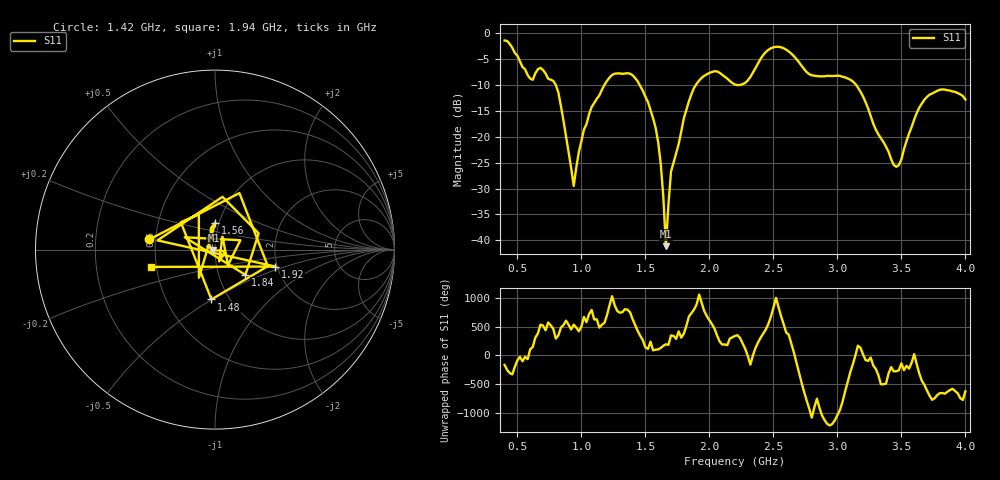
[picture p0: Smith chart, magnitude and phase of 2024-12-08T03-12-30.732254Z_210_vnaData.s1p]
!Created with skrf (http://scikit-rf.org).
# Hz S RI R 50.0
!freq ReS11 ImS11
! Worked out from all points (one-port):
!   181 points, 400 MHz to 4 GHz, reference 50 ohm
!   lowest |S11| = -41.1 dB at 1.66 GHz (marker M1), VSWR 1.02, Z = 49.2 - j0.225 ohm
!   |S11| at or under -10 dB: 800.3 MHz to 1.179 GHz (378.8 MHz wide, 38.3 % of centre); 1.455 GHz to 1.894 GHz (438.8 MHz wide, 26.2 % of centre); 3.147 GHz to end of sweep (the widest 3 of 4)
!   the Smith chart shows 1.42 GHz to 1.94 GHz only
!   S11 on the Smith chart (normalised r, x): 1.42 GHz: 0.46, +0.06; 1.48 GHz: 0.83, -0.50; 1.56 GHz: 0.96, +0.30; 1.84 GHz: 1.34, -0.40; 1.92 GHz: 1.96, -0.42; 1.94 GHz: 0.46, -0.10
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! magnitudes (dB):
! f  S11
! 400 MHz  -1.4
! 600 MHz  -8.7
! 680 MHz  -6.7
! 780 MHz  -9.2
! 860 MHz  -16.9
! 940 MHz  -29.5
! 980 MHz  -22.9
! 1.08 GHz  -14.2
! 1.3 GHz  -7.7
! 1.42 GHz  -8.6
! 1.48 GHz  -11.1
! 1.56 GHz  -16.4
! 1.62 GHz  -25.3
! 1.66 GHz  -41.1
! 1.7 GHz  -26.7
! 1.76 GHz  -21.4
! 1.84 GHz  -13.1
! 1.92 GHz  -9.1
! 1.94 GHz  -8.6
! 2.2 GHz  -9.9
! 2.48 GHz  -2.9
! 2.66 GHz  -4.4
! 2.8 GHz  -8.1
! 3.1 GHz  -8.9
! 3.44 GHz  -25.4
! 3.56 GHz  -19.3
! 3.72 GHz  -11.9
! 4 GHz  -12.8
